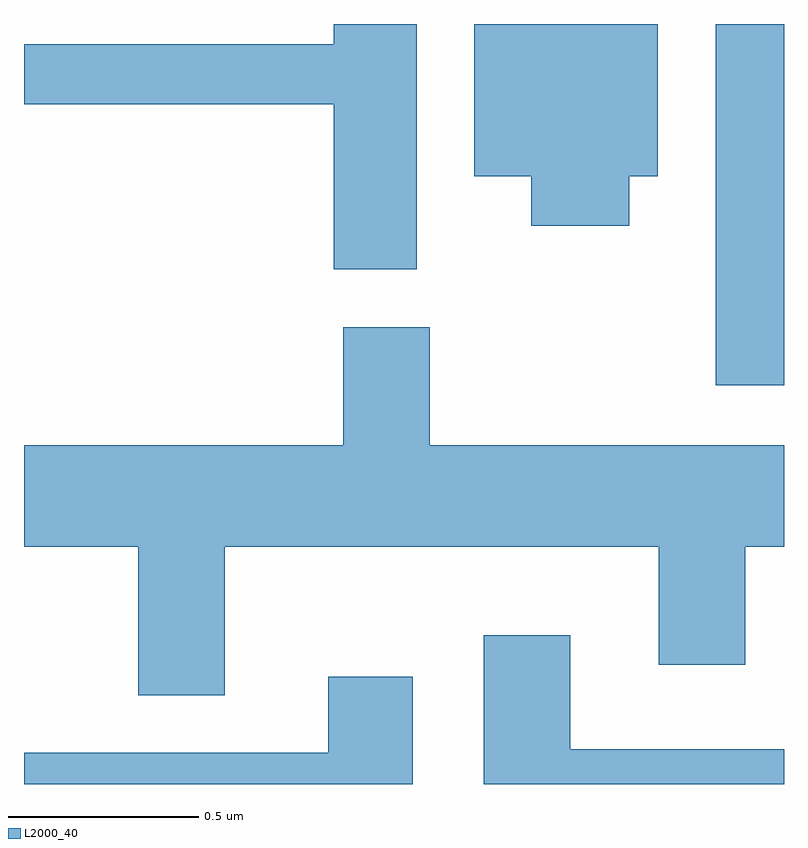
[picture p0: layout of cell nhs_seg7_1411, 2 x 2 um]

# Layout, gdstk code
import gdstk
lib = gdstk.Library(unit=1e-6, precision=1e-09)
def R(c, l, rs):  # rectangles x0, y0, x1, y1
    for r in rs: c.add(gdstk.rectangle(r[:2], r[2:], *l))
def P(c, l, *ps):  # polygons
    for p in ps: c.add(gdstk.Polygon(p, *l))
L2000_40 = (2000, 40)

nhs_seg7_1411 = lib.new_cell('nhs_seg7_1411')
R(nhs_seg7_1411, L2000_40, [(197.431,1710.301,197.611,1711.252)])
P(nhs_seg7_1411, L2000_40, [(197.204,1710.851),(197.279,1710.851),(197.279,1711.252),(196.796,1711.252),(196.796,1710.851),(196.946,1710.851),(196.946,1710.721),(197.204,1710.721)],
  [(196.644,1711.252),(196.426,1711.252),(196.426,1711.199),(195.611,1711.199),(195.611,1711.041),(196.426,1711.041),(196.426,1710.606),(196.644,1710.606)],
  [(196.139,1709.876),(197.281,1709.876),(197.281,1709.566),(197.509,1709.566),(197.509,1709.876),(197.611,1709.876),(197.611,1710.144),(196.679,1710.144),(196.679,1710.454),(196.451,1710.454),(196.451,1710.144),(195.611,1710.144),(195.611,1709.876),(195.911,1709.876),(195.911,1709.486),(196.139,1709.486)],
  [(197.611,1709.344),(197.049,1709.344),(197.049,1709.644),(196.821,1709.644),(196.821,1709.252),(197.611,1709.252)],
  [(196.634,1709.534),(196.411,1709.534),(196.411,1709.334),(195.611,1709.334),(195.611,1709.252),(196.634,1709.252)])

lib.write_gds('nhs_seg7_1411.gds')
